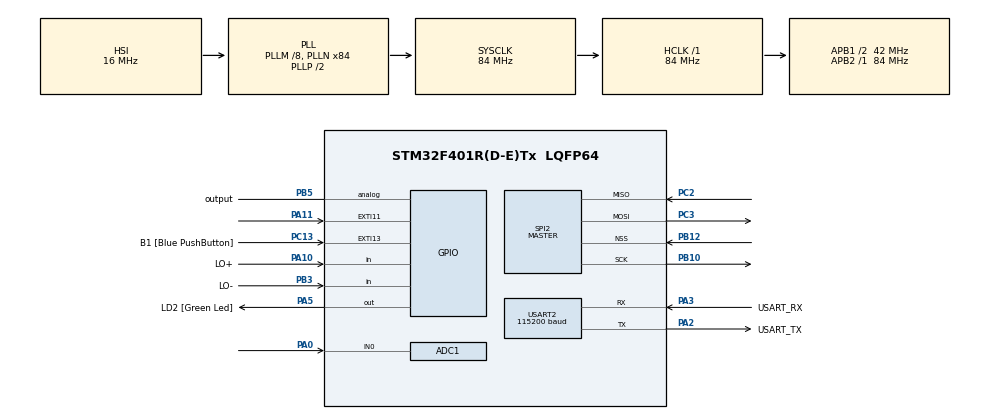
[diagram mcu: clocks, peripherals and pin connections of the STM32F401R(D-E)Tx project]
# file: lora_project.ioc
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ADC1.Channel-6\#ChannelRegularConversion=ADC_CHANNEL_0
ADC1.NbrOfConversionFlag=1
ADC1.Rank-6\#ChannelRegularConversion=1
ADC1.SamplingTime-6\#ChannelRegularConversion=ADC_SAMPLETIME_3CYCLES
ADC1.master=1
Mcu.Family=STM32F4
Mcu.Name=STM32F401R(D-E)Tx
Mcu.Package=LQFP64
NVIC.PriorityGroup=NVIC_PRIORITYGROUP_0
PA0-WKUP.Signal=ADCx_IN0
PA10.GPIO_Label=LO+
PA10.Signal=GPIO_Input
PA11.Signal=GPXTI11
PA13.GPIO_Label=TMS
PA13.Mode=Serial_Wire
PA13.Signal=SYS_JTMS-SWDIO
PA14.GPIO_Label=TCK
PA14.Mode=Serial_Wire
PA14.Signal=SYS_JTCK-SWCLK
PA2.GPIO_Label=USART_TX
PA2.GPIO_Mode=GPIO_MODE_AF_PP
PA2.GPIO_PuPd=GPIO_NOPULL
PA2.GPIO_Speed=GPIO_SPEED_FREQ_LOW
PA2.Mode=Asynchronous
PA2.Signal=USART2_TX
PA3.GPIO_Label=USART_RX
PA3.GPIO_Mode=GPIO_MODE_AF_PP
PA3.GPIO_PuPd=GPIO_NOPULL
PA3.GPIO_Speed=GPIO_SPEED_FREQ_LOW
PA3.Mode=Asynchronous
PA3.Signal=USART2_RX
PA5.GPIO_Label=LD2 [Green Led]
PA5.GPIO_Mode=GPIO_MODE_OUTPUT_PP
PA5.GPIO_PuPd=GPIO_NOPULL
PA5.GPIO_Speed=GPIO_SPEED_FREQ_LOW
PA5.Signal=GPIO_Output
PB10.Mode=Full_Duplex_Master
PB10.Signal=SPI2_SCK
PB12.Mode=NSS_Signal_Hard_Input
PB12.Signal=SPI2_NSS
PB3.GPIO_Label=LO-
PB3.Signal=GPIO_Input
PB5.GPIO_Label=output
PB5.Signal=GPIO_Analog
PC13-ANTI_TAMP.GPIO_Label=B1 [Blue PushButton]
PC13-ANTI_TAMP.GPIO_ModeDefaultEXTI=GPIO_MODE_IT_FALLING
PC13-ANTI_TAMP.GPIO_PuPd=GPIO_NOPULL
PC13-ANTI_TAMP.Signal=GPXTI13
PC14-OSC32_IN.Mode=LSE-External-Oscillator
PC14-OSC32_IN.Signal=RCC_OSC32_IN
PC15-OSC32_OUT.Mode=LSE-External-Oscillator
PC15-OSC32_OUT.Signal=RCC_OSC32_OUT
PC2.Mode=Full_Duplex_Master
PC2.Signal=SPI2_MISO
PC3.Mode=Full_Duplex_Master
PC3.Signal=SPI2_MOSI
PH0\ -\ OSC_IN.Mode=HSE-External-Clock-Source
PH0\ -\ OSC_IN.Signal=RCC_OSC_IN
PH1\ -\ OSC_OUT.Mode=HSE-External-Clock-Source
PH1\ -\ OSC_OUT.Signal=RCC_OSC_OUT
ProjectManager.HeapSize=0x200
ProjectManager.StackSize=0x400
ProjectManager.TargetToolchain=STM32CubeIDE
RCC.48MHZClocksFreq_Value=24000000
RCC.AHBFreq_Value=84000000
RCC.APB1CLKDivider=RCC_HCLK_DIV2
RCC.APB1Freq_Value=42000000
RCC.APB1TimFreq_Value=84000000
RCC.APB2Freq_Value=84000000
RCC.APB2TimFreq_Value=84000000
RCC.CortexFreq_Value=84000000
RCC.HCLKFreq_Value=84000000
RCC.HSE_VALUE=8000000
RCC.HSI_VALUE=16000000
RCC.PLLM=8
RCC.PLLN=84
RCC.PLLQ=7
RCC.SYSCLKFreq_VALUE=84000000
RCC.SYSCLKSource=RCC_SYSCLKSOURCE_PLLCLK
RCC.VCOOutputFreq_Value=168000000
SH.ADCx_IN0.0=ADC1_IN0,IN0
SPI2.Direction=SPI_DIRECTION_2LINES
SPI2.Mode=SPI_MODE_MASTER
SPI2.VirtualNSS=VM_NSSHARD
SPI2.VirtualType=VM_MASTER
USART2.BaudRate=115200
USART2.VirtualMode=VM_ASYNC
USART2.WordLength=WORDLENGTH_8B
board=NUCLEO-F401RE

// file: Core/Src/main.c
/* USER CODE BEGIN Header */
/**
  ******************************************************************************
  * @file           : main.c
  * @brief          : Main program body
  ******************************************************************************
  * @attention
  *
  * Copyright (c) 2024 STMicroelectronics.
  * All rights reserved.
  *
  * This software is licensed under terms that can be found in the LICENSE file
  * in the root directory of this software component.
  * If no LICENSE file comes with this software, it is provided AS-IS.
  *
  ******************************************************************************
  */
/* USER CODE END Header */
#include "main.h"

/* USER CODE BEGIN PD */
#define SAMPLE_RATE 1000      // Taux d'échantillonnage en Hz
#define V_REF 3300.0          // Référence en mV pour la conversion en tension
#define ADC_RESOLUTION 4095.0 // Résolution ADC pour une conversion 12 bits
#define WINDOW_SIZE 5         // Taille de la fenêtre pour le filtre médian
/* USER CODE END PD */

ADC_HandleTypeDef hadc1;

SPI_HandleTypeDef hspi2;

UART_HandleTypeDef huart2;

/* USER CODE BEGIN PV */
uint32_t adcValue = 0;
float filteredValue = 0.0;          // Valeur finale après filtrage passe-bande
float lowPassPrev = 0.0;            // Dernière valeur du filtre passe-bas
float highPassPrev = 0.0;           // Dernière valeur du filtre passe-haut
float medianWindow[WINDOW_SIZE];    // Fenêtre glissante pour le filtre médian
int windowIndex = 0;                // Index de la fenêtre glissante
char msg[50];
/* USER CODE END PV */

void SystemClock_Config(void);
static void MX_GPIO_Init(void);
static void MX_USART2_UART_Init(void);
static void MX_ADC1_Init(void);
static void MX_SPI2_Init(void);
/* USER CODE BEGIN PFP */
float low_pass_filter(float input, float prev, float alpha);
float high_pass_filter(float input, float prev, float alpha);
float band_pass_filter(float input, float lowAlpha, float highAlpha);
float median_filter(float *window, int size);
int compare(const void *a, const void *b); // Fonction pour qsort
/* USER CODE END PFP */

/* USER CODE BEGIN 0 */
float low_pass_filter(float input, float prev, float alpha) {
    return alpha * input + (1 - alpha) * prev;
}

float high_pass_filter(float input, float prev, float alpha) {
    return alpha * (input - prev) + (1 - alpha) * prev;
}

/**
 * @brief Combine un filtre passe-bas et passe-haut pour créer un filtre passe-bande.
 */
float band_pass_filter(float input, float lowAlpha, float highAlpha) {
    float lowFiltered = low_pass_filter(input, lowPassPrev, lowAlpha);
    lowPassPrev = lowFiltered; // Met à jour la valeur précédente pour le passe-bas
    float highFiltered = high_pass_filter(lowFiltered, highPassPrev, highAlpha);
    highPassPrev = highFiltered; // Met à jour la valeur précédente pour le passe-haut
    return highFiltered;
}

/**
 * @brief Applique un filtre médian pour réduire les artéfacts brusques.
 */
float median_filter(float *window, int size) {
    float sorted[WINDOW_SIZE];
    memcpy(sorted, window, sizeof(float) * size); // Copie de la fenêtre
    qsort(sorted, size, sizeof(float), compare);  // Trie la fenêtre
    return sorted[size / 2];                      // Retourne la médiane
}

/**
 * @brief Fonction de comparaison pour qsort (tri croissant).
 */
int compare(const void *a, const void *b) {
    return (*(float *)a > *(float *)b) - (*(float *)a < *(float *)b);
}
/* USER CODE END 0 */

int main(void)
{
  /* USER CODE BEGIN 1 */
	float lowAlpha = 0.05;  // Coefficient pour le passe-bas
	float highAlpha = 0.9;  // Coefficient pour le passe-haut

  /* USER CODE END 1 */

  /* MCU Configuration--------------------------------------------------------*/

  /* Reset of all peripherals, Initializes the Flash interface and the Systick. */
  HAL_Init();

  /* USER CODE BEGIN Init */
  for (int i = 0; i < WINDOW_SIZE; i++) {
         medianWindow[i] = 0.0; // Initialisation de la fenêtre glissante
  /* USER CODE END Init */

  /* Configure the system clock */
  SystemClock_Config();

  /* Initialize all configured peripherals */
  MX_GPIO_Init();
  MX_USART2_UART_Init();
  MX_ADC1_Init();
  MX_SPI2_Init();
  /* USER CODE BEGIN 2 */
  float voltage = 0.0;  // Valeur calculée en tension

  /* USER CODE END 2 */

  /* Infinite loop */
  /* USER CODE BEGIN WHILE */
  while (1)
  {
	  // Démarrer une conversion ADC
	          HAL_ADC_Start(&hadc1);
	          if (HAL_ADC_PollForConversion(&hadc1, HAL_MAX_DELAY) == HAL_OK) {
	              adcValue = HAL_ADC_GetValue(&hadc1);
	          }
	          HAL_ADC_Stop(&hadc1);

	          // Appliquer le filtre passe-bande
	          float bandFiltered = band_pass_filter(adcValue, lowAlpha, highAlpha);

	          // Ajouter à la fenêtre glissante du filtre médian
	          medianWindow[windowIndex] = bandFiltered;
	          windowIndex = (windowIndex + 1) % WINDOW_SIZE; // Mise à jour de l'index circulaire

	          // Appliquer le filtre médian
	          filteredValue = median_filter(medianWindow, WINDOW_SIZE);

	          // Conversion en millivolts
	          int voltage_mv = (int)((filteredValue / ADC_RESOLUTION) * V_REF);

	          // Préparer et envoyer les données via UART
	          snprintf(msg, sizeof(msg), "Filtered ECG: %d mV\r\n", voltage_mv);
	          HAL_UART_Transmit(&huart2, (uint8_t *)msg, strlen(msg), HAL_MAX_DELAY);

	          // Attente pour correspondre à la fréquence d'échantillonnage
	          HAL_Delay(1000 / SAMPLE_RATE);
	      }}
  }
    /* USER CODE END WHILE */

void SystemClock_Config(void)
{
  RCC_OscInitTypeDef RCC_OscInitStruct = {0};
  RCC_ClkInitTypeDef RCC_ClkInitStruct = {0};

  /** Configure the main internal regulator output voltage
  */
  __HAL_RCC_PWR_CLK_ENABLE();
  __HAL_PWR_VOLTAGESCALING_CONFIG(PWR_REGULATOR_VOLTAGE_SCALE2);

  /** Initializes the RCC Oscillators according to the specified parameters
  * in the RCC_OscInitTypeDef structure.
  */
  RCC_OscInitStruct.OscillatorType = RCC_OSCILLATORTYPE_HSI;
  RCC_OscInitStruct.HSIState = RCC_HSI_ON;
  RCC_OscInitStruct.HSICalibrationValue = RCC_HSICALIBRATION_DEFAULT;
  RCC_OscInitStruct.PLL.PLLState = RCC_PLL_ON;
  RCC_OscInitStruct.PLL.PLLSource = RCC_PLLSOURCE_HSI;
  RCC_OscInitStruct.PLL.PLLM = 8;
  RCC_OscInitStruct.PLL.PLLN = 84;
  RCC_OscInitStruct.PLL.PLLP = RCC_PLLP_DIV2;
  RCC_OscInitStruct.PLL.PLLQ = 7;
  if (HAL_RCC_OscConfig(&RCC_OscInitStruct) != HAL_OK)
  {
    Error_Handler();
  }

  /** Initializes the CPU, AHB and APB buses clocks
  */
  RCC_ClkInitStruct.ClockType = RCC_CLOCKTYPE_HCLK|RCC_CLOCKTYPE_SYSCLK
                              |RCC_CLOCKTYPE_PCLK1|RCC_CLOCKTYPE_PCLK2;
  RCC_ClkInitStruct.SYSCLKSource = RCC_SYSCLKSOURCE_PLLCLK;
  RCC_ClkInitStruct.AHBCLKDivider = RCC_SYSCLK_DIV1;
  RCC_ClkInitStruct.APB1CLKDivider = RCC_HCLK_DIV2;
  RCC_ClkInitStruct.APB2CLKDivider = RCC_HCLK_DIV1;

  if (HAL_RCC_ClockConfig(&RCC_ClkInitStruct, FLASH_LATENCY_2) != HAL_OK)
  {
    Error_Handler();
  }
}

static void MX_ADC1_Init(void)
{

  ADC_ChannelConfTypeDef sConfig = {0};

  /** Configure the global features of the ADC (Clock, Resolution, Data Alignment and number of conversion)
  */
  hadc1.Instance = ADC1;
  hadc1.Init.ClockPrescaler = ADC_CLOCK_SYNC_PCLK_DIV4;
  hadc1.Init.Resolution = ADC_RESOLUTION_12B;
  hadc1.Init.ScanConvMode = DISABLE;
  hadc1.Init.ContinuousConvMode = DISABLE;
  hadc1.Init.DiscontinuousConvMode = DISABLE;
  hadc1.Init.ExternalTrigConvEdge = ADC_EXTERNALTRIGCONVEDGE_NONE;
  hadc1.Init.ExternalTrigConv = ADC_SOFTWARE_START;
  hadc1.Init.DataAlign = ADC_DATAALIGN_RIGHT;
  hadc1.Init.NbrOfConversion = 1;
  hadc1.Init.DMAContinuousRequests = DISABLE;
  hadc1.Init.EOCSelection = ADC_EOC_SINGLE_CONV;
  if (HAL_ADC_Init(&hadc1) != HAL_OK)
  {
    Error_Handler();
  }

  /** Configure for the selected ADC regular channel its corresponding rank in the sequencer and its sample time.
  */
  sConfig.Channel = ADC_CHANNEL_0;
  sConfig.Rank = 1;
  sConfig.SamplingTime = ADC_SAMPLETIME_3CYCLES;
  if (HAL_ADC_ConfigChannel(&hadc1, &sConfig) != HAL_OK)
  {
    Error_Handler();
  }

}

static void MX_SPI2_Init(void)
{

  /* SPI2 parameter configuration*/
  hspi2.Instance = SPI2;
  hspi2.Init.Mode = SPI_MODE_MASTER;
  hspi2.Init.Direction = SPI_DIRECTION_2LINES;
  hspi2.Init.DataSize = SPI_DATASIZE_8BIT;
  hspi2.Init.CLKPolarity = SPI_POLARITY_LOW;
  hspi2.Init.CLKPhase = SPI_PHASE_1EDGE;
  hspi2.Init.NSS = SPI_NSS_HARD_INPUT;
  hspi2.Init.BaudRatePrescaler = SPI_BAUDRATEPRESCALER_2;
  hspi2.Init.FirstBit = SPI_FIRSTBIT_MSB;
  hspi2.Init.TIMode = SPI_TIMODE_DISABLE;
  hspi2.Init.CRCCalculation = SPI_CRCCALCULATION_DISABLE;
  hspi2.Init.CRCPolynomial = 10;
  if (HAL_SPI_Init(&hspi2) != HAL_OK)
  {
    Error_Handler();
  }

}

static void MX_USART2_UART_Init(void)
{

  huart2.Instance = USART2;
  huart2.Init.BaudRate = 115200;
  huart2.Init.WordLength = UART_WORDLENGTH_8B;
  huart2.Init.StopBits = UART_STOPBITS_1;
  huart2.Init.Parity = UART_PARITY_NONE;
  huart2.Init.Mode = UART_MODE_TX_RX;
  huart2.Init.HwFlowCtl = UART_HWCONTROL_NONE;
  huart2.Init.OverSampling = UART_OVERSAMPLING_16;
  if (HAL_UART_Init(&huart2) != HAL_OK)
  {
    Error_Handler();
  }

}

static void MX_GPIO_Init(void)
{
  GPIO_InitTypeDef GPIO_InitStruct = {0};

  /* GPIO Ports Clock Enable */
  __HAL_RCC_GPIOC_CLK_ENABLE();
  __HAL_RCC_GPIOH_CLK_ENABLE();
  __HAL_RCC_GPIOA_CLK_ENABLE();
  __HAL_RCC_GPIOB_CLK_ENABLE();

  /*Configure GPIO pin Output Level */
  HAL_GPIO_WritePin(LD2_GPIO_Port, LD2_Pin, GPIO_PIN_RESET);

  /*Configure GPIO pin : B1_Pin */
  GPIO_InitStruct.Pin = B1_Pin;
  GPIO_InitStruct.Mode = GPIO_MODE_IT_FALLING;
  GPIO_InitStruct.Pull = GPIO_NOPULL;
  HAL_GPIO_Init(B1_GPIO_Port, &GPIO_InitStruct);

  /*Configure GPIO pin : LD2_Pin */
  GPIO_InitStruct.Pin = LD2_Pin;
  GPIO_InitStruct.Mode = GPIO_MODE_OUTPUT_PP;
  GPIO_InitStruct.Pull = GPIO_NOPULL;
  GPIO_InitStruct.Speed = GPIO_SPEED_FREQ_LOW;
  HAL_GPIO_Init(LD2_GPIO_Port, &GPIO_InitStruct);

  /*Configure GPIO pin : LO__Pin */
  GPIO_InitStruct.Pin = LO__Pin;
  GPIO_InitStruct.Mode = GPIO_MODE_INPUT;
  GPIO_InitStruct.Pull = GPIO_NOPULL;
  HAL_GPIO_Init(LO__GPIO_Port, &GPIO_InitStruct);

  /*Configure GPIO pin : PA11 */
  GPIO_InitStruct.Pin = GPIO_PIN_11;
  GPIO_InitStruct.Mode = GPIO_MODE_IT_RISING;
  GPIO_InitStruct.Pull = GPIO_NOPULL;
  HAL_GPIO_Init(GPIOA, &GPIO_InitStruct);

  /*Configure GPIO pin : LO_B3_Pin */
  GPIO_InitStruct.Pin = LO_B3_Pin;
  GPIO_InitStruct.Mode = GPIO_MODE_INPUT;
  GPIO_InitStruct.Pull = GPIO_NOPULL;
  HAL_GPIO_Init(LO_B3_GPIO_Port, &GPIO_InitStruct);

  /*Configure GPIO pin : output_Pin */
  GPIO_InitStruct.Pin = output_Pin;
  GPIO_InitStruct.Mode = GPIO_MODE_ANALOG;
  GPIO_InitStruct.Pull = GPIO_NOPULL;
  HAL_GPIO_Init(output_GPIO_Port, &GPIO_InitStruct);

}

void Error_Handler(void)
{
  __disable_irq();
  while (1)
  {
  }
}
